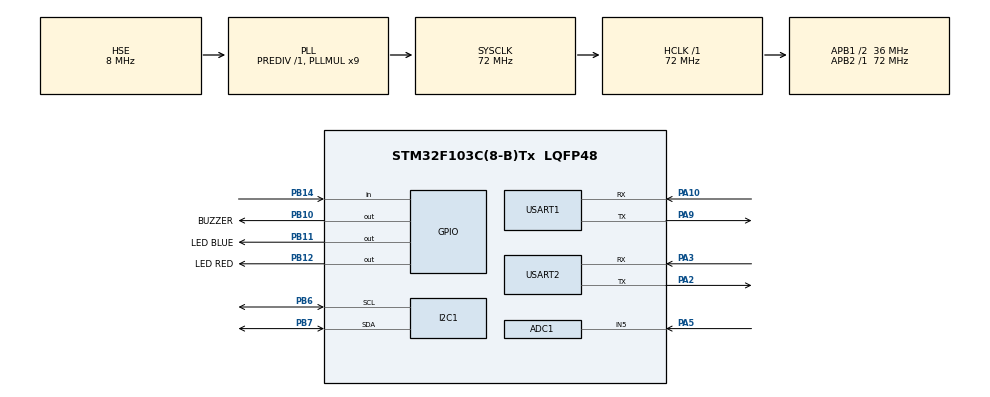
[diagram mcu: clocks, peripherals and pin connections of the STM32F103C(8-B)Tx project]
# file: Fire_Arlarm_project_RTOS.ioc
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ADC1.Channel-5\#ChannelRegularConversion=ADC_CHANNEL_5
ADC1.NbrOfConversionFlag=1
ADC1.Rank-5\#ChannelRegularConversion=1
ADC1.SamplingTime-5\#ChannelRegularConversion=ADC_SAMPLETIME_1CYCLE_5
ADC1.master=1
FREERTOS.Tasks01=defaultTask,0,128,StartDefaultTask,Default,NULL,Dynamic,NULL,NULL
Mcu.Family=STM32F1
Mcu.Name=STM32F103C(8-B)Tx
Mcu.Package=LQFP48
NVIC.PriorityGroup=NVIC_PRIORITYGROUP_4
NVIC.TIM1_UP_IRQn=true\:15\:0\:false\:false\:true\:false\:false\:true\:true
NVIC.TimeBase=TIM1_UP_IRQn
NVIC.TimeBaseIP=TIM1
PA10.Mode=Asynchronous
PA10.Signal=USART1_RX
PA13.Mode=Serial_Wire
PA13.Signal=SYS_JTMS-SWDIO
PA14.Mode=Serial_Wire
PA14.Signal=SYS_JTCK-SWCLK
PA2.Mode=Asynchronous
PA2.Signal=USART2_TX
PA3.Mode=Asynchronous
PA3.Signal=USART2_RX
PA5.Signal=ADCx_IN5
PA9.Mode=Asynchronous
PA9.Signal=USART1_TX
PB10.GPIO_Label=BUZZER
PB10.PinState=GPIO_PIN_SET
PB10.Signal=GPIO_Output
PB11.GPIO_Label=LED BLUE
PB11.Signal=GPIO_Output
PB12.GPIO_Label=LED RED
PB12.PinState=GPIO_PIN_RESET
PB12.Signal=GPIO_Output
PB14.Signal=GPIO_Input
PB6.Mode=I2C
PB6.Signal=I2C1_SCL
PB7.Mode=I2C
PB7.Signal=I2C1_SDA
PD0-OSC_IN.Mode=HSE-External-Oscillator
PD0-OSC_IN.Signal=RCC_OSC_IN
PD1-OSC_OUT.Mode=HSE-External-Oscillator
PD1-OSC_OUT.Signal=RCC_OSC_OUT
ProjectManager.HeapSize=0x200
ProjectManager.StackSize=0x400
ProjectManager.TargetToolchain=MDK-ARM V5
RCC.ADCPresc=RCC_ADCPCLK2_DIV6
RCC.AHBFreq_Value=72000000
RCC.APB1CLKDivider=RCC_HCLK_DIV2
RCC.APB1Freq_Value=36000000
RCC.APB1TimFreq_Value=72000000
RCC.APB2Freq_Value=72000000
RCC.APB2TimFreq_Value=72000000
RCC.HCLKFreq_Value=72000000
RCC.PLLMUL=RCC_PLL_MUL9
RCC.PLLSourceVirtual=RCC_PLLSOURCE_HSE
RCC.SYSCLKFreq_VALUE=72000000
RCC.SYSCLKSource=RCC_SYSCLKSOURCE_PLLCLK
RCC.USBFreq_Value=72000000
SH.ADCx_IN5.0=ADC1_IN5,IN5
USART1.VirtualMode=VM_ASYNC
USART2.VirtualMode=VM_ASYNC
VP_FREERTOS_VS_CMSIS_V1.Mode=CMSIS_V1
VP_SYS_VS_tim1.Mode=TIM1
board=custom

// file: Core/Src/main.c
/* USER CODE BEGIN Header */
/**
  ******************************************************************************
  * @file           : main.c
  * @brief          : Main program body
  ******************************************************************************
  * @attention
  *
  * Copyright (c) 2022 STMicroelectronics.
  * All rights reserved.
  *
  * This software is licensed under terms that can be found in the LICENSE file
  * in the root directory of this software component.
  * If no LICENSE file comes with this software, it is provided AS-IS.
  *
  ******************************************************************************
  */
/* USER CODE END Header */
#include "main.h"
//#include "cmsis_os.h"

/* USER CODE BEGIN Includes */
#include "FreeRTOS.h"
#include "task.h"
#include "timers.h"
#include "queue.h"
#include "semphr.h"
#include "event_groups.h"

#include "i2c-lcd.h"
#include <stdio.h>
#include <stdlib.h>
#include <string.h>

/* USER CODE END Includes */

ADC_HandleTypeDef hadc1;

I2C_HandleTypeDef hi2c1;

UART_HandleTypeDef huart1;
UART_HandleTypeDef huart2;

void SystemClock_Config(void);
static void MX_GPIO_Init(void);
static void MX_ADC1_Init(void);
static void MX_I2C1_Init(void);
static void MX_USART1_UART_Init(void);
static void MX_USART2_UART_Init(void);

/* USER CODE BEGIN 0 */
// create task define
TaskHandle_t Task_1Handler;
void Task_1 (void *pvParameters);

TaskHandle_t Task_2Handler;
void Task_2 (void *pvParameters);

TaskHandle_t Task_3Handler;
void Task_3 (void *pvParameters);

xSemaphoreHandle Binary_Sem;

/* USER CODE END 0 */

int main(void)
{

  /* MCU Configuration--------------------------------------------------------*/

  /* Reset of all peripherals, Initializes the Flash interface and the Systick. */
  HAL_Init();

  /* Configure the system clock */
  SystemClock_Config();

  /* Initialize all configured peripherals */
  MX_GPIO_Init();
  MX_ADC1_Init();
  MX_I2C1_Init();
  MX_USART1_UART_Init();
  MX_USART2_UART_Init();
  /* USER CODE BEGIN 2 */
  xTaskCreate(Task_1,"Task1",128,NULL,3,&Task_1Handler);
  xTaskCreate(Task_2,"Task2",128,NULL,1,&Task_2Handler);
  xTaskCreate(Task_3,"Task3",128,NULL,2,&Task_3Handler);

  Binary_Sem = xSemaphoreCreateBinary();

  vTaskStartScheduler();
  /* USER CODE END 2 */
  /* We should never get here as control is now taken by the scheduler */
  /* Infinite loop */
  while (1)
  {

  }
}

void SystemClock_Config(void)
{
  RCC_OscInitTypeDef RCC_OscInitStruct = {0};
  RCC_ClkInitTypeDef RCC_ClkInitStruct = {0};
  RCC_PeriphCLKInitTypeDef PeriphClkInit = {0};

  /** Initializes the RCC Oscillators according to the specified parameters
  * in the RCC_OscInitTypeDef structure.
  */
  RCC_OscInitStruct.OscillatorType = RCC_OSCILLATORTYPE_HSE;
  RCC_OscInitStruct.HSEState = RCC_HSE_ON;
  RCC_OscInitStruct.HSEPredivValue = RCC_HSE_PREDIV_DIV1;
  RCC_OscInitStruct.HSIState = RCC_HSI_ON;
  RCC_OscInitStruct.PLL.PLLState = RCC_PLL_ON;
  RCC_OscInitStruct.PLL.PLLSource = RCC_PLLSOURCE_HSE;
  RCC_OscInitStruct.PLL.PLLMUL = RCC_PLL_MUL9;
  if (HAL_RCC_OscConfig(&RCC_OscInitStruct) != HAL_OK)
  {
    Error_Handler();
  }

  /** Initializes the CPU, AHB and APB buses clocks
  */
  RCC_ClkInitStruct.ClockType = RCC_CLOCKTYPE_HCLK|RCC_CLOCKTYPE_SYSCLK
                              |RCC_CLOCKTYPE_PCLK1|RCC_CLOCKTYPE_PCLK2;
  RCC_ClkInitStruct.SYSCLKSource = RCC_SYSCLKSOURCE_PLLCLK;
  RCC_ClkInitStruct.AHBCLKDivider = RCC_SYSCLK_DIV1;
  RCC_ClkInitStruct.APB1CLKDivider = RCC_HCLK_DIV2;
  RCC_ClkInitStruct.APB2CLKDivider = RCC_HCLK_DIV1;

  if (HAL_RCC_ClockConfig(&RCC_ClkInitStruct, FLASH_LATENCY_2) != HAL_OK)
  {
    Error_Handler();
  }
  PeriphClkInit.PeriphClockSelection = RCC_PERIPHCLK_ADC;
  PeriphClkInit.AdcClockSelection = RCC_ADCPCLK2_DIV6;
  if (HAL_RCCEx_PeriphCLKConfig(&PeriphClkInit) != HAL_OK)
  {
    Error_Handler();
  }
}

static void MX_ADC1_Init(void)
{

  ADC_ChannelConfTypeDef sConfig = {0};

  /** Common config
  */
  hadc1.Instance = ADC1;
  hadc1.Init.ScanConvMode = ADC_SCAN_DISABLE;
  hadc1.Init.ContinuousConvMode = DISABLE;
  hadc1.Init.DiscontinuousConvMode = DISABLE;
  hadc1.Init.ExternalTrigConv = ADC_SOFTWARE_START;
  hadc1.Init.DataAlign = ADC_DATAALIGN_RIGHT;
  hadc1.Init.NbrOfConversion = 1;
  if (HAL_ADC_Init(&hadc1) != HAL_OK)
  {
    Error_Handler();
  }

  /** Configure Regular Channel
  */
  sConfig.Channel = ADC_CHANNEL_5;
  sConfig.Rank = ADC_REGULAR_RANK_1;
  sConfig.SamplingTime = ADC_SAMPLETIME_1CYCLE_5;
  if (HAL_ADC_ConfigChannel(&hadc1, &sConfig) != HAL_OK)
  {
    Error_Handler();
  }

}

static void MX_I2C1_Init(void)
{

  hi2c1.Instance = I2C1;
  hi2c1.Init.ClockSpeed = 100000;
  hi2c1.Init.DutyCycle = I2C_DUTYCYCLE_2;
  hi2c1.Init.OwnAddress1 = 0;
  hi2c1.Init.AddressingMode = I2C_ADDRESSINGMODE_7BIT;
  hi2c1.Init.DualAddressMode = I2C_DUALADDRESS_DISABLE;
  hi2c1.Init.OwnAddress2 = 0;
  hi2c1.Init.GeneralCallMode = I2C_GENERALCALL_DISABLE;
  hi2c1.Init.NoStretchMode = I2C_NOSTRETCH_DISABLE;
  if (HAL_I2C_Init(&hi2c1) != HAL_OK)
  {
    Error_Handler();
  }

}

static void MX_USART1_UART_Init(void)
{

  huart1.Instance = USART1;
  huart1.Init.BaudRate = 115200;
  huart1.Init.WordLength = UART_WORDLENGTH_8B;
  huart1.Init.StopBits = UART_STOPBITS_1;
  huart1.Init.Parity = UART_PARITY_NONE;
  huart1.Init.Mode = UART_MODE_TX_RX;
  huart1.Init.HwFlowCtl = UART_HWCONTROL_NONE;
  huart1.Init.OverSampling = UART_OVERSAMPLING_16;
  if (HAL_UART_Init(&huart1) != HAL_OK)
  {
    Error_Handler();
  }

}

static void MX_USART2_UART_Init(void)
{

  huart2.Instance = USART2;
  huart2.Init.BaudRate = 115200;
  huart2.Init.WordLength = UART_WORDLENGTH_8B;
  huart2.Init.StopBits = UART_STOPBITS_1;
  huart2.Init.Parity = UART_PARITY_NONE;
  huart2.Init.Mode = UART_MODE_TX_RX;
  huart2.Init.HwFlowCtl = UART_HWCONTROL_NONE;
  huart2.Init.OverSampling = UART_OVERSAMPLING_16;
  if (HAL_UART_Init(&huart2) != HAL_OK)
  {
    Error_Handler();
  }

}

static void MX_GPIO_Init(void)
{
  GPIO_InitTypeDef GPIO_InitStruct = {0};

  /* GPIO Ports Clock Enable */
  __HAL_RCC_GPIOD_CLK_ENABLE();
  __HAL_RCC_GPIOA_CLK_ENABLE();
  __HAL_RCC_GPIOB_CLK_ENABLE();

  /*Configure GPIO pin Output Level */
  HAL_GPIO_WritePin(BUZZER_GPIO_Port, BUZZER_Pin, GPIO_PIN_SET);

  /*Configure GPIO pin Output Level */
  HAL_GPIO_WritePin(GPIOB, LED_BLUE_Pin|LED_RED_Pin, GPIO_PIN_RESET);

  /*Configure GPIO pins : BUZZER_Pin LED_BLUE_Pin LED_RED_Pin */
  GPIO_InitStruct.Pin = BUZZER_Pin|LED_BLUE_Pin|LED_RED_Pin;
  GPIO_InitStruct.Mode = GPIO_MODE_OUTPUT_PP;
  GPIO_InitStruct.Pull = GPIO_NOPULL;
  GPIO_InitStruct.Speed = GPIO_SPEED_FREQ_LOW;
  HAL_GPIO_Init(GPIOB, &GPIO_InitStruct);

  /*Configure GPIO pin : PB14 */
  GPIO_InitStruct.Pin = GPIO_PIN_14;
  GPIO_InitStruct.Mode = GPIO_MODE_INPUT;
  GPIO_InitStruct.Pull = GPIO_NOPULL;
  HAL_GPIO_Init(GPIOB, &GPIO_InitStruct);

}

/* USER CODE BEGIN 4 */
int a=0, b=0, state=0;
int value, fire;
char string[10];
char target1[10];
char target2;

	void them(char s[], char kituthem) // them ki tu cuoi cung
{
    int n = strlen(s);
    s[n]=',';
    s[n+1]=kituthem;
    s[n+2]='D';
    s[n+3]='\0';
}
void send_data_to_esp()
{
    sprintf((char*)&target2, "%d", fire);
    sprintf(target1, "%d", value);
		them(target1,target2);
		HAL_UART_Transmit(&huart2,(uint8_t*)target1,sizeof(target1),500);
}
void read_data_MQ2_and_fire_sensor()
{
      //read data from MQ2
         HAL_ADC_Start(&hadc1);
		     HAL_Delay(50);
         value= HAL_ADC_GetValue(&hadc1);
         HAL_ADC_Stop(&hadc1);
        //done read data from MQ2
				fire=HAL_GPIO_ReadPin(GPIOB,GPIO_PIN_14); //read data from fire sensor
}
void NORMAL_NO_FIRE()
{
	  sprintf(string,"%d \n",value); //doi kieu so sang ki tu
	//SEND DATA TO LCD
		lcd_put_cur(0,0);
		lcd_send_string("Value= ");
		lcd_put_cur(0,7);
		lcd_send_string(string);

		lcd_put_cur(0,10);
		lcd_send_string(" ");
		lcd_put_cur(0,11);
		lcd_send_string("PPM  ");

		lcd_put_cur(1,0);
		lcd_send_string("     NORMAL      ");
	//DONE SEND DATA TO LCD
   		HAL_GPIO_WritePin(GPIOB,LED_RED_Pin,0); //LED RED OFF
			HAL_GPIO_WritePin(GPIOB,LED_BLUE_Pin,1); //LED BLUE ON
      HAL_GPIO_WritePin(GPIOB,BUZZER_Pin,1); // BUZZER OFF
}
void WARNING_HAVE_FIRE()
{
			//send data to lcd
		  lcd_put_cur(0,0);
			lcd_send_string("XXX WARNING XXX ");
			lcd_put_cur(1,0);
			lcd_send_string(" FIRE DETECTED ");
			//done send data to lcd
      HAL_GPIO_WritePin(GPIOB,LED_BLUE_Pin,0); //LED BLUE OFF
      HAL_GPIO_TogglePin(GPIOB,LED_RED_Pin); // LED RED TOGGLE
      HAL_GPIO_WritePin(GPIOB,BUZZER_Pin,0); //BUZZER ON

}
// TASK HERE:
void Task_1 (void *pvParameters)
{
	lcd_init();
  lcd_clear();
    while (1)
    {
				printf("Task_1 RUN with a=%d b=%d state=%d \n", a,b,state);

        read_data_MQ2_and_fire_sensor(); //read data from MQ2 & fire sensor

        if (value < 600 || fire == 1)    // NO (Smoke or fire)
          b=1;

				if (value > 600 || fire == 0)    // HAVE (Smoke or fire)
        {
          xSemaphoreGive(Binary_Sem);
          b=2;
        }
				if (state == 2 && b ==1)       //  HAVE (Smoke or fire) ==> NO (Smoke or fire)
				{
					a=1;
					xSemaphoreGive(Binary_Sem);
				}
				else
					a=0;

            send_data_to_esp(); //transmit data to esp

				printf("Task_1 END & Send DATA with a=%d b=%d state=%d  \n",a,b,state);

				HAL_Delay(400);
				vTaskDelay(pdMS_TO_TICKS(100));
    }
}

void Task_2 (void *pvParameters)
{
    while (1)
    {
		printf("Task_2 RUN\n");

      if (value > 600 || fire == 0)      //cС (khoi hoac lua)
        xSemaphoreTake(Binary_Sem,portMAX_DELAY);

			NORMAL_NO_FIRE(); //GOI HAM

			printf("Task_2 END\n\n");

      vTaskDelay(pdMS_TO_TICKS(100));
    }
}
void Task_3 (void *pvParameters)
{

    while (1)
    {
			printf("Task_3 RUN with a=%d b=%d state=%d\n", a,b,state);

       if (a==1)   //give semaphore to task 2
       {
				xSemaphoreGive(Binary_Sem);
        vTaskDelay(pdMS_TO_TICKS(10));
       }
				xSemaphoreTake(Binary_Sem,portMAX_DELAY);  //task3 ==> block

			  WARNING_HAVE_FIRE(); //GOI HAM

				state = b;
			 printf("Task_3 END with state=%d\n\n", state);
    }
}

//frint debug
struct __FILE{
  int handle;
  /* Whatever you require here. If the only file you are using is */
  /* standard output using printf() for debugging, no file handling */
  /* is required. */
};

FILE __stdout;

int fputc(int ch, FILE *f){
	HAL_UART_Transmit(&huart1, (uint8_t *)&ch, 1, 0xFFFF);
  return ch;
}

int ferror(FILE *f){
  /* Your implementation of ferror(). */
  return 0;
}
/* USER CODE END 4 */

void HAL_TIM_PeriodElapsedCallback(TIM_HandleTypeDef *htim)
{
  if (htim->Instance == TIM1) {
    HAL_IncTick();
  }
}

void Error_Handler(void)
{
  __disable_irq();
  while (1)
  {
  }
}
